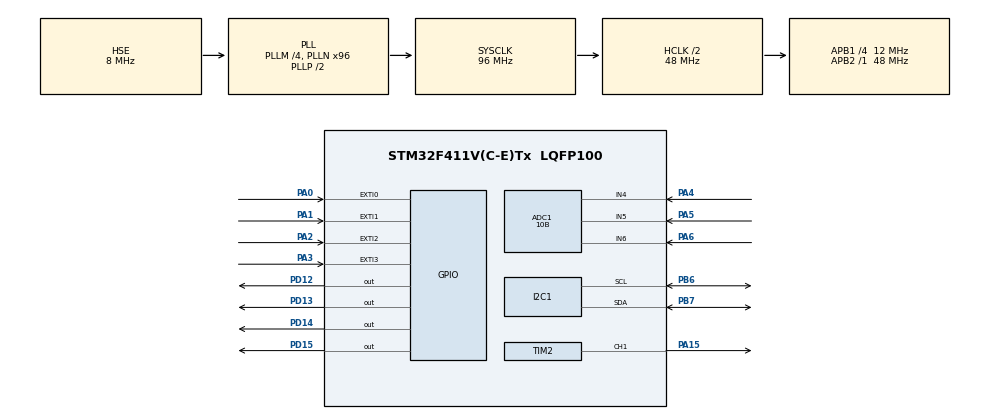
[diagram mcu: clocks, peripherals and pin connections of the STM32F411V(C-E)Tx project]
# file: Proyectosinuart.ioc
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ADC1.Channel-0\#ChannelRegularConversion=ADC_CHANNEL_4
ADC1.Channel-1\#ChannelRegularConversion=ADC_CHANNEL_5
ADC1.Channel-2\#ChannelRegularConversion=ADC_CHANNEL_6
ADC1.ContinuousConvMode=ENABLE
ADC1.DMAContinuousRequests=ENABLE
ADC1.NbrOfConversion=3
ADC1.NbrOfConversionFlag=1
ADC1.Rank-0\#ChannelRegularConversion=1
ADC1.Rank-1\#ChannelRegularConversion=2
ADC1.Rank-2\#ChannelRegularConversion=3
ADC1.Resolution=ADC_RESOLUTION_10B
ADC1.SamplingTime-0\#ChannelRegularConversion=ADC_SAMPLETIME_3CYCLES
ADC1.SamplingTime-1\#ChannelRegularConversion=ADC_SAMPLETIME_3CYCLES
ADC1.SamplingTime-2\#ChannelRegularConversion=ADC_SAMPLETIME_3CYCLES
ADC1.ScanConvMode=ENABLE
ADC1.master=1
Dma.ADC1.0.Direction=DMA_PERIPH_TO_MEMORY
Dma.ADC1.0.FIFOMode=DMA_FIFOMODE_DISABLE
Dma.ADC1.0.Instance=DMA2_Stream0
Dma.ADC1.0.MemDataAlignment=DMA_MDATAALIGN_WORD
Dma.ADC1.0.MemInc=DMA_MINC_ENABLE
Dma.ADC1.0.Mode=DMA_CIRCULAR
Dma.ADC1.0.PeriphDataAlignment=DMA_PDATAALIGN_WORD
Dma.ADC1.0.PeriphInc=DMA_PINC_DISABLE
Dma.ADC1.0.Priority=DMA_PRIORITY_LOW
Dma.Request0=ADC1
Mcu.Family=STM32F4
Mcu.Name=STM32F411V(C-E)Tx
Mcu.Package=LQFP100
NVIC.DMA2_Stream0_IRQn=true\:0\:0\:false\:false\:true\:false\:true\:true
NVIC.EXTI0_IRQn=true\:0\:0\:false\:false\:true\:true\:true\:true
NVIC.EXTI1_IRQn=true\:0\:0\:false\:false\:true\:true\:true\:true
NVIC.EXTI2_IRQn=true\:0\:0\:false\:false\:true\:true\:true\:true
NVIC.EXTI3_IRQn=true\:0\:0\:false\:false\:true\:true\:true\:true
NVIC.PriorityGroup=NVIC_PRIORITYGROUP_0
PA0-WKUP.Signal=GPXTI0
PA1.Signal=GPXTI1
PA13.Mode=Serial_Wire
PA13.Signal=SYS_JTMS-SWDIO
PA14.Mode=Serial_Wire
PA14.Signal=SYS_JTCK-SWCLK
PA15.Signal=S_TIM2_CH1_ETR
PA2.Signal=GPXTI2
PA3.Signal=GPXTI3
PA4.Signal=ADCx_IN4
PA5.Signal=ADCx_IN5
PA6.Signal=ADCx_IN6
PB6.Mode=I2C
PB6.Signal=I2C1_SCL
PB7.Mode=I2C
PB7.Signal=I2C1_SDA
PD12.Signal=GPIO_Output
PD13.Signal=GPIO_Output
PD14.Signal=GPIO_Output
PD15.Signal=GPIO_Output
PH0\ -\ OSC_IN.Mode=HSE-External-Oscillator
PH0\ -\ OSC_IN.Signal=RCC_OSC_IN
PH1\ -\ OSC_OUT.Mode=HSE-External-Oscillator
PH1\ -\ OSC_OUT.Signal=RCC_OSC_OUT
ProjectManager.HeapSize=0x200
ProjectManager.StackSize=0x400
ProjectManager.TargetToolchain=STM32CubeIDE
RCC.48MHZClocksFreq_Value=48000000
RCC.AHBCLKDivider=RCC_SYSCLK_DIV2
RCC.AHBFreq_Value=48000000
RCC.APB1CLKDivider=RCC_HCLK_DIV4
RCC.APB1Freq_Value=12000000
RCC.APB1TimFreq_Value=24000000
RCC.APB2Freq_Value=48000000
RCC.APB2TimFreq_Value=48000000
RCC.CortexFreq_Value=48000000
RCC.HCLKFreq_Value=48000000
RCC.HSE_VALUE=8000000
RCC.HSI_VALUE=16000000
RCC.LSE_VALUE=32768
RCC.PLLI2SM=5
RCC.PLLI2SN=200
RCC.PLLM=4
RCC.PLLN=96
RCC.PLLSourceVirtual=RCC_PLLSOURCE_HSE
RCC.SYSCLKFreq_VALUE=96000000
RCC.SYSCLKSource=RCC_SYSCLKSOURCE_PLLCLK
RCC.VCOOutputFreq_Value=192000000
SH.ADCx_IN4.0=ADC1_IN4,IN4
SH.ADCx_IN5.0=ADC1_IN5,IN5
SH.ADCx_IN6.0=ADC1_IN6,IN6
SH.S_TIM2_CH1_ETR.0=TIM2_CH1,PWM Generation1 CH1
TIM2.Channel-PWM\ Generation1\ CH1=TIM_CHANNEL_1
TIM2.Period=2000
TIM2.Prescaler=240
board=STM32F411E-DISCO

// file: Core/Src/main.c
/* USER CODE BEGIN Header */
/**
  ******************************************************************************
  * @file           : main.c
  * @brief          : Main program body
  ******************************************************************************
  * @attention
  *
  * Copyright (c) 2023 STMicroelectronics.
  * All rights reserved.
  *
  * This software is licensed under terms that can be found in the LICENSE file
  * in the root directory of this software component.
  * If no LICENSE file comes with this software, it is provided AS-IS.
  *
  ******************************************************************************
  */
/* USER CODE END Header */
#include "main.h"

ADC_HandleTypeDef hadc1;
DMA_HandleTypeDef hdma_adc1;

I2C_HandleTypeDef hi2c1;

TIM_HandleTypeDef htim2;

void SystemClock_Config(void);
static void MX_GPIO_Init(void);
static void MX_DMA_Init(void);
static void MX_ADC1_Init(void);
static void MX_TIM2_Init(void);
static void MX_I2C1_Init(void);
/* USER CODE BEGIN PFP */

	uint16_t PWM;
	uint32_t adcbuffer[3];//0 el potenciometro, 1 el presencia,2 ldr
	int flag1=0;
	int flag2=0;
	int flag3=0;
	int flag4=0;
	int j=0;
	int i=0;
/* USER CODE END PFP */

/* USER CODE BEGIN 0 */
	void HAL_GPIO_EXTI_Callback(uint16_t GPIO_Pin){
		if (GPIO_Pin==GPIO_PIN_0)
		{
				flag1=1;

		}
		else if(GPIO_Pin==GPIO_PIN_1)
		{
		   flag2=1;

		}
		else if(GPIO_Pin==GPIO_PIN_2)
	    {
		 flag3=1;

		}
		else if(GPIO_Pin==GPIO_PIN_3)
		 {
		   flag4=1;

		  }
	}
/* USER CODE END 0 */

int main(void)
{

  /* MCU Configuration--------------------------------------------------------*/

  /* Reset of all peripherals, Initializes the Flash interface and the Systick. */
  HAL_Init();

  /* Configure the system clock */
  SystemClock_Config();

  /* Initialize all configured peripherals */
  MX_GPIO_Init();
  MX_DMA_Init();
  MX_ADC1_Init();
  MX_TIM2_Init();
  MX_I2C1_Init();
  /* USER CODE BEGIN 2 */
  	 HAL_ADC_Start_DMA(&hadc1, adcbuffer, 3);
  	 HAL_TIM_PWM_Start(&htim2, TIM_CHANNEL_1);
  	  lcd_init();
  	  lcd_clear();
  	  lcd_put_cur(0, 0);

  /* USER CODE END 2 */

  /* Infinite loop */
  while (1)
  {

    /* USER CODE BEGIN 3 */
	  if(flag1=='1')
	  {

			  HAL_GPIO_TogglePin(GPIOD, GPIO_PIN_12);
			  PWM = 250 + adcbuffer[0]/4.1;
			  __HAL_TIM_SET_COMPARE(&htim2,TIM_CHANNEL_2, PWM);
			  HAL_Delay(50);

	  }
	  if(flag2=='1')
	  	  {
		  	  if(adcbuffer[1]>500)//presencia

	  			  HAL_GPIO_TogglePin(GPIOD, GPIO_PIN_13);
		  	         //bucle para que sube y baje
	  			  __HAL_TIM_SET_COMPARE(&htim2,TIM_CHANNEL_2, 500);
	  			          HAL_Delay(5000);
	  			          lcd_put_cur(0, 0);
	  					  lcd_send_string("PERSIANA SUBIDA");
	  					  HAL_Delay(5000);
	  					  lcd_clear();

	         //////Falta el else

	  	  }
	  if(flag3=='1')//ldr
	  {
		  if(adcbuffer[2]>250)
		  {
			  HAL_GPIO_TogglePin(GPIOD, GPIO_PIN_14);
			  	  	//bucle para que sube y baje
		  __HAL_TIM_SET_COMPARE(&htim2,TIM_CHANNEL_2, 1000);
		        HAL_Delay(5000);
		        lcd_put_cur(0, 0);
			    lcd_send_string("PERSIANA SUBIDA");
				HAL_Delay(5000);
			  lcd_clear();
			  /////////falta else

			  /////Falta poner en todos los if los flags a 0
			  //////////FALTA PONER UN MODO SI QUEREMOS

		  }

	  }

  }
  /* USER CODE END 3 */
}

void SystemClock_Config(void)
{
  RCC_OscInitTypeDef RCC_OscInitStruct = {0};
  RCC_ClkInitTypeDef RCC_ClkInitStruct = {0};

  /** Configure the main internal regulator output voltage
  */
  __HAL_RCC_PWR_CLK_ENABLE();
  __HAL_PWR_VOLTAGESCALING_CONFIG(PWR_REGULATOR_VOLTAGE_SCALE1);

  /** Initializes the RCC Oscillators according to the specified parameters
  * in the RCC_OscInitTypeDef structure.
  */
  RCC_OscInitStruct.OscillatorType = RCC_OSCILLATORTYPE_HSE;
  RCC_OscInitStruct.HSEState = RCC_HSE_ON;
  RCC_OscInitStruct.PLL.PLLState = RCC_PLL_ON;
  RCC_OscInitStruct.PLL.PLLSource = RCC_PLLSOURCE_HSE;
  RCC_OscInitStruct.PLL.PLLM = 4;
  RCC_OscInitStruct.PLL.PLLN = 96;
  RCC_OscInitStruct.PLL.PLLP = RCC_PLLP_DIV2;
  RCC_OscInitStruct.PLL.PLLQ = 4;
  if (HAL_RCC_OscConfig(&RCC_OscInitStruct) != HAL_OK)
  {
    Error_Handler();
  }

  /** Initializes the CPU, AHB and APB buses clocks
  */
  RCC_ClkInitStruct.ClockType = RCC_CLOCKTYPE_HCLK|RCC_CLOCKTYPE_SYSCLK
                              |RCC_CLOCKTYPE_PCLK1|RCC_CLOCKTYPE_PCLK2;
  RCC_ClkInitStruct.SYSCLKSource = RCC_SYSCLKSOURCE_PLLCLK;
  RCC_ClkInitStruct.AHBCLKDivider = RCC_SYSCLK_DIV2;
  RCC_ClkInitStruct.APB1CLKDivider = RCC_HCLK_DIV4;
  RCC_ClkInitStruct.APB2CLKDivider = RCC_HCLK_DIV1;

  if (HAL_RCC_ClockConfig(&RCC_ClkInitStruct, FLASH_LATENCY_1) != HAL_OK)
  {
    Error_Handler();
  }
}

static void MX_ADC1_Init(void)
{

  ADC_ChannelConfTypeDef sConfig = {0};

  /** Configure the global features of the ADC (Clock, Resolution, Data Alignment and number of conversion)
  */
  hadc1.Instance = ADC1;
  hadc1.Init.ClockPrescaler = ADC_CLOCK_SYNC_PCLK_DIV2;
  hadc1.Init.Resolution = ADC_RESOLUTION_10B;
  hadc1.Init.ScanConvMode = ENABLE;
  hadc1.Init.ContinuousConvMode = ENABLE;
  hadc1.Init.DiscontinuousConvMode = DISABLE;
  hadc1.Init.ExternalTrigConvEdge = ADC_EXTERNALTRIGCONVEDGE_NONE;
  hadc1.Init.ExternalTrigConv = ADC_SOFTWARE_START;
  hadc1.Init.DataAlign = ADC_DATAALIGN_RIGHT;
  hadc1.Init.NbrOfConversion = 3;
  hadc1.Init.DMAContinuousRequests = ENABLE;
  hadc1.Init.EOCSelection = ADC_EOC_SINGLE_CONV;
  if (HAL_ADC_Init(&hadc1) != HAL_OK)
  {
    Error_Handler();
  }

  /** Configure for the selected ADC regular channel its corresponding rank in the sequencer and its sample time.
  */
  sConfig.Channel = ADC_CHANNEL_4;
  sConfig.Rank = 1;
  sConfig.SamplingTime = ADC_SAMPLETIME_3CYCLES;
  if (HAL_ADC_ConfigChannel(&hadc1, &sConfig) != HAL_OK)
  {
    Error_Handler();
  }

  /** Configure for the selected ADC regular channel its corresponding rank in the sequencer and its sample time.
  */
  sConfig.Channel = ADC_CHANNEL_5;
  sConfig.Rank = 2;
  if (HAL_ADC_ConfigChannel(&hadc1, &sConfig) != HAL_OK)
  {
    Error_Handler();
  }

  /** Configure for the selected ADC regular channel its corresponding rank in the sequencer and its sample time.
  */
  sConfig.Channel = ADC_CHANNEL_6;
  sConfig.Rank = 3;
  if (HAL_ADC_ConfigChannel(&hadc1, &sConfig) != HAL_OK)
  {
    Error_Handler();
  }

}

static void MX_I2C1_Init(void)
{

  hi2c1.Instance = I2C1;
  hi2c1.Init.ClockSpeed = 100000;
  hi2c1.Init.DutyCycle = I2C_DUTYCYCLE_2;
  hi2c1.Init.OwnAddress1 = 0;
  hi2c1.Init.AddressingMode = I2C_ADDRESSINGMODE_7BIT;
  hi2c1.Init.DualAddressMode = I2C_DUALADDRESS_DISABLE;
  hi2c1.Init.OwnAddress2 = 0;
  hi2c1.Init.GeneralCallMode = I2C_GENERALCALL_DISABLE;
  hi2c1.Init.NoStretchMode = I2C_NOSTRETCH_DISABLE;
  if (HAL_I2C_Init(&hi2c1) != HAL_OK)
  {
    Error_Handler();
  }

}

static void MX_TIM2_Init(void)
{

  TIM_MasterConfigTypeDef sMasterConfig = {0};
  TIM_OC_InitTypeDef sConfigOC = {0};

  htim2.Instance = TIM2;
  htim2.Init.Prescaler = 240;
  htim2.Init.CounterMode = TIM_COUNTERMODE_UP;
  htim2.Init.Period = 2000;
  htim2.Init.ClockDivision = TIM_CLOCKDIVISION_DIV1;
  htim2.Init.AutoReloadPreload = TIM_AUTORELOAD_PRELOAD_DISABLE;
  if (HAL_TIM_PWM_Init(&htim2) != HAL_OK)
  {
    Error_Handler();
  }
  sMasterConfig.MasterOutputTrigger = TIM_TRGO_RESET;
  sMasterConfig.MasterSlaveMode = TIM_MASTERSLAVEMODE_DISABLE;
  if (HAL_TIMEx_MasterConfigSynchronization(&htim2, &sMasterConfig) != HAL_OK)
  {
    Error_Handler();
  }
  sConfigOC.OCMode = TIM_OCMODE_PWM1;
  sConfigOC.Pulse = 0;
  sConfigOC.OCPolarity = TIM_OCPOLARITY_HIGH;
  sConfigOC.OCFastMode = TIM_OCFAST_DISABLE;
  if (HAL_TIM_PWM_ConfigChannel(&htim2, &sConfigOC, TIM_CHANNEL_1) != HAL_OK)
  {
    Error_Handler();
  }
  HAL_TIM_MspPostInit(&htim2);

}

static void MX_DMA_Init(void)
{

  /* DMA controller clock enable */
  __HAL_RCC_DMA2_CLK_ENABLE();

  /* DMA interrupt init */
  /* DMA2_Stream0_IRQn interrupt configuration */
  HAL_NVIC_SetPriority(DMA2_Stream0_IRQn, 0, 0);
  HAL_NVIC_EnableIRQ(DMA2_Stream0_IRQn);

}

static void MX_GPIO_Init(void)
{
  GPIO_InitTypeDef GPIO_InitStruct = {0};

  /* GPIO Ports Clock Enable */
  __HAL_RCC_GPIOH_CLK_ENABLE();
  __HAL_RCC_GPIOA_CLK_ENABLE();
  __HAL_RCC_GPIOD_CLK_ENABLE();
  __HAL_RCC_GPIOB_CLK_ENABLE();

  /*Configure GPIO pin Output Level */
  HAL_GPIO_WritePin(GPIOD, GPIO_PIN_12|GPIO_PIN_13|GPIO_PIN_14|GPIO_PIN_15, GPIO_PIN_RESET);

  /*Configure GPIO pins : PA0 PA1 PA2 PA3 */
  GPIO_InitStruct.Pin = GPIO_PIN_0|GPIO_PIN_1|GPIO_PIN_2|GPIO_PIN_3;
  GPIO_InitStruct.Mode = GPIO_MODE_IT_RISING;
  GPIO_InitStruct.Pull = GPIO_NOPULL;
  HAL_GPIO_Init(GPIOA, &GPIO_InitStruct);

  /*Configure GPIO pins : PD12 PD13 PD14 PD15 */
  GPIO_InitStruct.Pin = GPIO_PIN_12|GPIO_PIN_13|GPIO_PIN_14|GPIO_PIN_15;
  GPIO_InitStruct.Mode = GPIO_MODE_OUTPUT_PP;
  GPIO_InitStruct.Pull = GPIO_NOPULL;
  GPIO_InitStruct.Speed = GPIO_SPEED_FREQ_LOW;
  HAL_GPIO_Init(GPIOD, &GPIO_InitStruct);

  /* EXTI interrupt init*/
  HAL_NVIC_SetPriority(EXTI0_IRQn, 0, 0);
  HAL_NVIC_EnableIRQ(EXTI0_IRQn);

  HAL_NVIC_SetPriority(EXTI1_IRQn, 0, 0);
  HAL_NVIC_EnableIRQ(EXTI1_IRQn);

  HAL_NVIC_SetPriority(EXTI2_IRQn, 0, 0);
  HAL_NVIC_EnableIRQ(EXTI2_IRQn);

  HAL_NVIC_SetPriority(EXTI3_IRQn, 0, 0);
  HAL_NVIC_EnableIRQ(EXTI3_IRQn);

}

void Error_Handler(void)
{
  __disable_irq();
  while (1)
  {
  }
}
